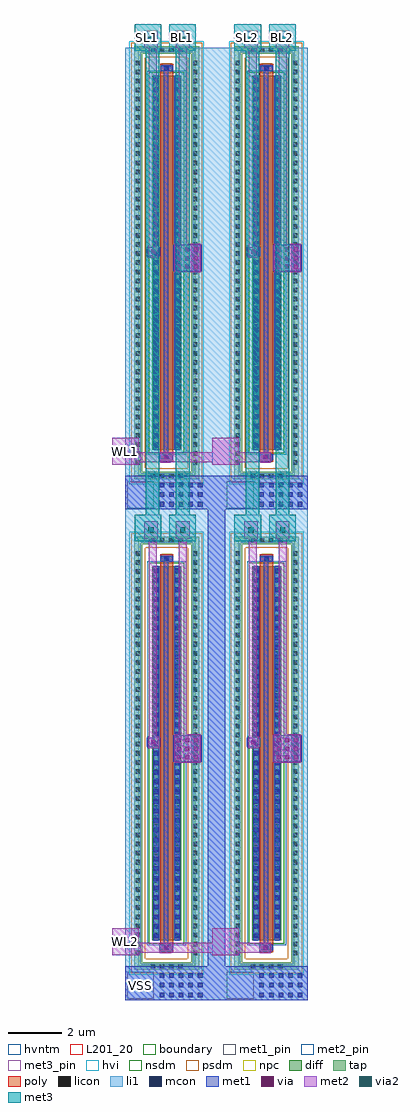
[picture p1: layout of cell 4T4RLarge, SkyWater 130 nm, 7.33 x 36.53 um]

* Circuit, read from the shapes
.subckt 4T4RLarge BL1 BL2 SL1 SL2 VSS WL1 WL2
XM1 BL1 WL2 SL1 VSS sky130_fd_pr__nfet_g5v0d10v5 w=14 l=0.5
XM2 BL1 WL1 SL1 VSS sky130_fd_pr__nfet_g5v0d10v5 w=14 l=0.5
XM3 BL2 WL2 SL2 VSS sky130_fd_pr__nfet_g5v0d10v5 w=14 l=0.5
XM4 BL2 WL1 SL2 VSS sky130_fd_pr__nfet_g5v0d10v5 w=14 l=0.5
.ends

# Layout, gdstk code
import gdstk
lib = gdstk.Library(unit=1e-6, precision=1e-09)
def R(c, l, rs):  # rectangles x0, y0, x1, y1
    for r in rs: c.add(gdstk.rectangle(r[:2], r[2:], *l))
def A(c, l, x, y, w, h, nx, ny, dx, dy):  # array of equal rectangles
    R(c, l, [(x+i*dx, y+j*dy, x+i*dx+w, y+j*dy+h) for i in range(nx) for j in range(ny)])
diff = (65, 20)
tap = (65, 44)
poly = (66, 20)
licon = (66, 44)
li1 = (67, 20)
mcon = (67, 44)
met1_pin = (68, 16)
met1 = (68, 20)
via = (68, 44)
met2_pin = (69, 16)
met2 = (69, 20)
via2 = (69, 44)
met3_pin = (70, 16)
met3 = (70, 20)
hvi = (75, 20)
nsdm = (93, 44)
psdm = (94, 20)
npc = (95, 20)
hvntm = (125, 20)
L201_20 = (201, 20)
boundary = (235, 4)

sky130_fd_pr_reram__rera = lib.new_cell('sky130_fd_pr_reram__reram_cell')
R(sky130_fd_pr_reram__rera, met1_pin, [(0,-2,1,-1)])
R(sky130_fd_pr_reram__rera, met1, [(-0.03,-2,1.03,-1)])
A(sky130_fd_pr_reram__rera, via, 0.105, -1.895, 0.15, 0.15, 3, 3, 0.32, 0.32)
R(sky130_fd_pr_reram__rera, met2_pin, [(0,-2,1,-1)])
R(sky130_fd_pr_reram__rera, met2, [(0,-2.03,1,-0.97)])
R(sky130_fd_pr_reram__rera, L201_20, [(0,-2,1,-1)])
sky130_fd_pr_reram__rera.add(gdstk.Label('TE', (0.5,-1.5), layer=69, texttype=5))
sky130_fd_pr_reram__rera.add(gdstk.Label('BE', (0.5,-1.5), layer=68, texttype=5))

sky130_fd_pr__nfet_g5v0d = lib.new_cell('sky130_fd_pr__nfet_g5v0d10v5_K2FQJB')
R(sky130_fd_pr__nfet_g5v0d, diff, [(-0.54,-7,0.54,7)])
R(sky130_fd_pr__nfet_g5v0d, tap, [(-1.21,-8.11,1.21,-7.82), (-1.21,-7.82,-0.92,7.82), (0.92,-7.82,1.21,7.82), (-1.21,7.82,1.21,8.11)])
R(sky130_fd_pr__nfet_g5v0d, poly, [(-0.25,-7.44,0.25,7.44)])
A(sky130_fd_pr__nfet_g5v0d, licon, -0.595, -8.05, 0.17, 0.17, 4, 2, 0.34, 15.93)
A(sky130_fd_pr__nfet_g5v0d, licon, -1.15, -7.565, 0.17, 0.17, 1, 45, 0, 0.34)
A(sky130_fd_pr__nfet_g5v0d, licon, 0.98, -7.565, 0.17, 0.17, 1, 45, 0, 0.34)
A(sky130_fd_pr__nfet_g5v0d, licon, -0.48, -6.885, 0.17, 0.17, 1, 41, 0, 0.34)
A(sky130_fd_pr__nfet_g5v0d, licon, 0.31, -6.885, 0.17, 0.17, 1, 41, 0, 0.34)
R(sky130_fd_pr__nfet_g5v0d, licon, [(-0.085,-7.36,0.085,-7.19), (-0.085,7.19,0.085,7.36)])
R(sky130_fd_pr__nfet_g5v0d, li1, [(-1.15,-8.05,1.15,-7.88), (-1.15,-7.88,-0.98,7.88), (0.98,-7.88,1.15,7.88), (-0.25,-7.36,0.25,-7.19), (-0.48,-7.02,-0.31,7.02), (0.31,-7.02,0.48,7.02), (-0.25,7.19,0.25,7.36), (-1.15,7.88,1.15,8.05)])
A(sky130_fd_pr__nfet_g5v0d, mcon, -0.48, -6.925, 0.17, 0.17, 1, 39, 0, 0.36)
A(sky130_fd_pr__nfet_g5v0d, mcon, 0.31, -6.925, 0.17, 0.17, 1, 39, 0, 0.36)
R(sky130_fd_pr__nfet_g5v0d, mcon, [(-0.085,-7.36,0.085,-7.19), (-0.085,7.19,0.085,7.36)])
R(sky130_fd_pr__nfet_g5v0d, met1, [(-0.23,-7.39,0.23,-7.16), (-0.51,-7,-0.28,7), (0.28,-7,0.51,7), (-0.23,7.16,0.23,7.39)])
R(sky130_fd_pr__nfet_g5v0d, hvi, [(-1.395,-8.295,1.395,8.295)])
R(sky130_fd_pr__nfet_g5v0d, nsdm, [(-0.665,-7.125,0.665,7.125)])
R(sky130_fd_pr__nfet_g5v0d, psdm, [(-1.335,-8.235,1.335,-7.695), (-1.335,-7.695,-0.795,7.695), (0.795,-7.695,1.335,7.695), (-1.335,7.695,1.335,8.235)])
R(sky130_fd_pr__nfet_g5v0d, npc, [(-0.185,-7.46,0.185,-7.09), (-0.185,7.09,0.185,7.46)])
R(sky130_fd_pr__nfet_g5v0d, hvntm, [(-0.725,-7.185,0.725,7.185)])
R(sky130_fd_pr__nfet_g5v0d, boundary, [(-1.06,-7.96,1.06,7.96)])

c_1t1rlarge = lib.new_cell('1T1RLarge')
R(c_1t1rlarge, li1, [(0.58,1.73,3.67,2.95), (0.58,2.95,0.98,19.01), (3.27,2.95,3.67,19.01)])
A(c_1t1rlarge, mcon, 1.855, 1.84, 0.17, 0.17, 5, 3, 0.36, 0.36)
R(c_1t1rlarge, met1_pin, [(0.64,1.78,1.64,2.78)])
R(c_1t1rlarge, met1, [(0.58,1.73,3.67,2.99), (1.84,3.53,2.32,3.82), (2.02,3.82,2.19,18.35), (1.38,11.2,1.88,11.55)])
R(c_1t1rlarge, via, [(2.005,3.6,2.155,3.75), (1.555,11.3,1.705,11.45)])
R(c_1t1rlarge, met2_pin, [(0.08,3.41,1.08,4.41)])
R(c_1t1rlarge, met2, [(0.08,3.41,1.08,3.5), (1.89,3.48,2.27,3.5), (0.08,3.5,2.27,3.87), (0.08,3.87,2.24,3.88), (0.08,3.88,1.08,4.41), (1.43,11.15,1.83,11.6), (2.57,11.27,2.87,18.99), (1.45,11.6,1.75,18.99), (1.28,18.99,1.79,19.65), (2.47,18.99,2.98,19.65)])
R(c_1t1rlarge, via2, [(1.435,19.22,1.635,19.42), (2.625,19.22,2.825,19.42)])
R(c_1t1rlarge, met3_pin, [(0.92,18.9,1.92,19.9), (2.22,18.9,3.22,19.9)])
R(c_1t1rlarge, met3, [(0.92,18.9,1.92,19.9), (2.22,18.9,3.22,19.9)])
c_1t1rlarge.add(gdstk.Reference(sky130_fd_pr_reram__rera, (2.4,12.64)))
c_1t1rlarge.add(gdstk.Reference(sky130_fd_pr__nfet_g5v0d, (2.125,10.965)))
c_1t1rlarge.add(gdstk.Label('BL', (2.72,19.4), layer=70, texttype=5))
c_1t1rlarge.add(gdstk.Label('WL', (0.58,3.91), layer=69, texttype=5))
c_1t1rlarge.add(gdstk.Label('VSS', (1.14,2.28), layer=68, texttype=5))
c_1t1rlarge.add(gdstk.Label('SL', (1.42,19.4), layer=70, texttype=5))

c_4t4rlarge = lib.new_cell('4T4RLarge')
R(c_4t4rlarge, li1, [(26.13,-4.85,26.78,12.43), (23.04,12.43,29.87,13.51), (26.13,13.51,26.78,30.79)])
R(c_4t4rlarge, met1_pin, [(23.1,-4.8,24.1,-3.8)])
R(c_4t4rlarge, met1, [(26.13,-4.85,26.78,14.77), (23.1,-4.8,24.1,-3.8)])
R(c_4t4rlarge, met2_pin, [(22.54,-3.17,23.54,-2.17), (22.54,15.19,23.54,16.19)])
R(c_4t4rlarge, met2, [(22.54,-3.17,23.54,-3.08), (22.54,-3.08,26.45,-2.71), (22.54,-2.71,23.54,-2.17), (22.54,15.19,23.54,15.28), (22.54,15.28,26.56,15.65), (22.54,15.65,23.54,16.19)])
R(c_4t4rlarge, met3_pin, [(23.38,30.68,24.38,31.68), (24.68,30.68,25.68,31.68), (27.12,30.68,28.12,31.68), (28.42,30.68,29.42,31.68)])
R(c_4t4rlarge, met3, [(24.93,12.67,25.44,30.68), (27.54,12.67,28.05,30.68), (28.67,12.68,29.18,30.68), (23.8,12.73,24.31,30.68), (23.38,30.68,24.38,31.68), (24.68,30.68,25.68,31.68), (27.12,30.68,28.12,31.68), (28.42,30.68,29.42,31.68)])
c_4t4rlarge.add(gdstk.Reference(c_1t1rlarge, (26.2,-6.58)))
c_4t4rlarge.add(gdstk.Reference(c_1t1rlarge, (22.46,-6.58)))
c_4t4rlarge.add(gdstk.Reference(c_1t1rlarge, (26.2,11.78)))
c_4t4rlarge.add(gdstk.Reference(c_1t1rlarge, (22.46,11.78)))
c_4t4rlarge.add(gdstk.Label('WL1', (23.04,15.69), layer=69, texttype=5))
c_4t4rlarge.add(gdstk.Label('BL1', (25.18,31.18), layer=70, texttype=5))
c_4t4rlarge.add(gdstk.Label('WL2', (23.04,-2.67), layer=69, texttype=5))
c_4t4rlarge.add(gdstk.Label('BL2', (28.92,31.18), layer=70, texttype=5))
c_4t4rlarge.add(gdstk.Label('SL1', (23.88,31.18), layer=70, texttype=5))
c_4t4rlarge.add(gdstk.Label('SL2', (27.62,31.18), layer=70, texttype=5))
c_4t4rlarge.add(gdstk.Label('VSS', (23.6,-4.3), layer=68, texttype=5))

lib.write_gds('4T4RLarge.gds')
